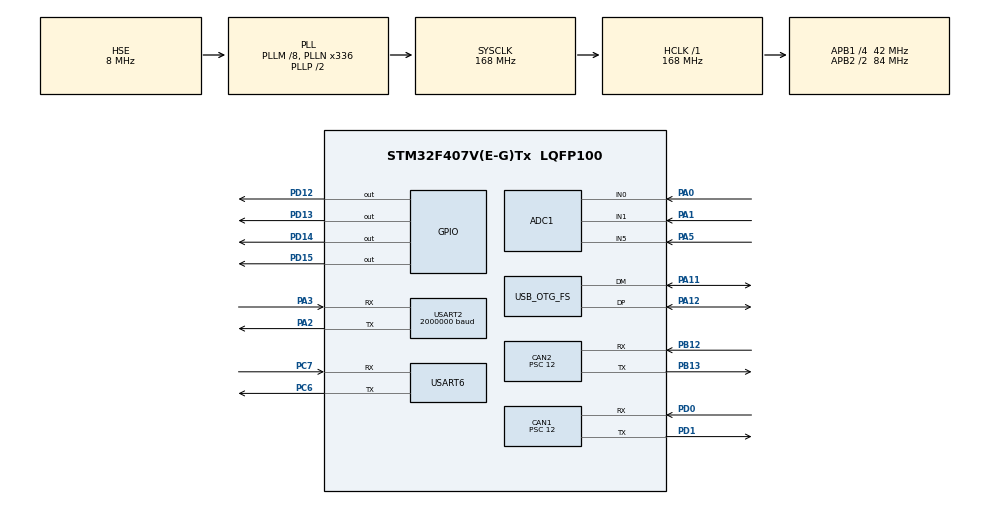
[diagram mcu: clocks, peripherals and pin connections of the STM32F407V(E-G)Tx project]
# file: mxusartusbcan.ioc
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ADC1.Channel-0\#ChannelRegularConversion=ADC_CHANNEL_0
ADC1.Channel-1\#ChannelRegularConversion=ADC_CHANNEL_1
ADC1.Channel-2\#ChannelRegularConversion=ADC_CHANNEL_5
ADC1.Channel-3\#ChannelRegularConversion=ADC_CHANNEL_TEMPSENSOR
ADC1.Channel-4\#ChannelRegularConversion=ADC_CHANNEL_VREFINT
ADC1.ClockPrescaler=ADC_CLOCK_SYNC_PCLK_DIV4
ADC1.ContinuousConvMode=ENABLE
ADC1.DMAContinuousRequests=ENABLE
ADC1.EOCSelection=ADC_EOC_SEQ_CONV
ADC1.NbrOfConversion=5
ADC1.NbrOfConversionFlag=1
ADC1.Rank-0\#ChannelRegularConversion=1
ADC1.Rank-1\#ChannelRegularConversion=2
ADC1.Rank-2\#ChannelRegularConversion=3
ADC1.Rank-3\#ChannelRegularConversion=4
ADC1.Rank-4\#ChannelRegularConversion=5
ADC1.SamplingTime-0\#ChannelRegularConversion=ADC_SAMPLETIME_56CYCLES
ADC1.SamplingTime-1\#ChannelRegularConversion=ADC_SAMPLETIME_56CYCLES
ADC1.SamplingTime-2\#ChannelRegularConversion=ADC_SAMPLETIME_56CYCLES
ADC1.SamplingTime-3\#ChannelRegularConversion=ADC_SAMPLETIME_480CYCLES
ADC1.SamplingTime-4\#ChannelRegularConversion=ADC_SAMPLETIME_480CYCLES
ADC1.ScanConvMode=ENABLE
ADC1.master=1
CAN1.BS1=CAN_BS1_5TQ
CAN1.CalculateTimeQuantum=285.7142857142857
CAN1.Prescaler=12
CAN2.BS1=CAN_BS1_5TQ
CAN2.CalculateTimeQuantum=285.7142857142857
CAN2.Prescaler=12
Dma.ADC1.2.Direction=DMA_PERIPH_TO_MEMORY
Dma.ADC1.2.FIFOMode=DMA_FIFOMODE_DISABLE
Dma.ADC1.2.Instance=DMA2_Stream0
Dma.ADC1.2.MemDataAlignment=DMA_MDATAALIGN_HALFWORD
Dma.ADC1.2.MemInc=DMA_MINC_ENABLE
Dma.ADC1.2.Mode=DMA_CIRCULAR
Dma.ADC1.2.PeriphDataAlignment=DMA_PDATAALIGN_HALFWORD
Dma.ADC1.2.PeriphInc=DMA_PINC_DISABLE
Dma.ADC1.2.Priority=DMA_PRIORITY_LOW
Dma.Request0=USART2_TX
Dma.Request1=USART2_RX
Dma.Request2=ADC1
Dma.Request3=USART6_RX
Dma.Request4=USART6_TX
Dma.USART2_RX.1.Direction=DMA_PERIPH_TO_MEMORY
Dma.USART2_RX.1.FIFOMode=DMA_FIFOMODE_DISABLE
Dma.USART2_RX.1.Instance=DMA1_Stream5
Dma.USART2_RX.1.MemDataAlignment=DMA_MDATAALIGN_BYTE
Dma.USART2_RX.1.MemInc=DMA_MINC_ENABLE
Dma.USART2_RX.1.Mode=DMA_CIRCULAR
Dma.USART2_RX.1.PeriphDataAlignment=DMA_PDATAALIGN_BYTE
Dma.USART2_RX.1.PeriphInc=DMA_PINC_DISABLE
Dma.USART2_RX.1.Priority=DMA_PRIORITY_LOW
Dma.USART2_TX.0.Direction=DMA_MEMORY_TO_PERIPH
Dma.USART2_TX.0.FIFOMode=DMA_FIFOMODE_DISABLE
Dma.USART2_TX.0.Instance=DMA1_Stream6
Dma.USART2_TX.0.MemDataAlignment=DMA_MDATAALIGN_BYTE
Dma.USART2_TX.0.MemInc=DMA_MINC_ENABLE
Dma.USART2_TX.0.Mode=DMA_NORMAL
Dma.USART2_TX.0.PeriphDataAlignment=DMA_PDATAALIGN_BYTE
Dma.USART2_TX.0.PeriphInc=DMA_PINC_DISABLE
Dma.USART2_TX.0.Priority=DMA_PRIORITY_LOW
Dma.USART6_RX.3.Direction=DMA_PERIPH_TO_MEMORY
Dma.USART6_RX.3.FIFOMode=DMA_FIFOMODE_DISABLE
Dma.USART6_RX.3.Instance=DMA2_Stream1
Dma.USART6_RX.3.MemDataAlignment=DMA_MDATAALIGN_BYTE
Dma.USART6_RX.3.MemInc=DMA_MINC_ENABLE
Dma.USART6_RX.3.Mode=DMA_CIRCULAR
Dma.USART6_RX.3.PeriphDataAlignment=DMA_PDATAALIGN_BYTE
Dma.USART6_RX.3.PeriphInc=DMA_PINC_DISABLE
Dma.USART6_RX.3.Priority=DMA_PRIORITY_LOW
Dma.USART6_TX.4.Direction=DMA_MEMORY_TO_PERIPH
Dma.USART6_TX.4.FIFOMode=DMA_FIFOMODE_DISABLE
Dma.USART6_TX.4.Instance=DMA2_Stream6
Dma.USART6_TX.4.MemDataAlignment=DMA_MDATAALIGN_BYTE
Dma.USART6_TX.4.MemInc=DMA_MINC_ENABLE
Dma.USART6_TX.4.Mode=DMA_NORMAL
Dma.USART6_TX.4.PeriphDataAlignment=DMA_PDATAALIGN_BYTE
Dma.USART6_TX.4.PeriphInc=DMA_PINC_DISABLE
Dma.USART6_TX.4.Priority=DMA_PRIORITY_LOW
FREERTOS.BinarySemaphores01=myBinarySem01,Dynamic,NULL
FREERTOS.CountingSemaphores01=myCountingSem01,2,Dynamic,NULL
FREERTOS.INCLUDE_uxTaskGetStackHighWaterMark=1
FREERTOS.INCLUDE_vTaskDelayUntil=1
FREERTOS.INCLUDE_vTaskDelete=0
FREERTOS.MEMORY_ALLOCATION=2
FREERTOS.Mutexes01=myMutex01,Dynamic,NULL
FREERTOS.Tasks01=defaultTask,0,128,StartDefaultTask,Default,NULL,Dynamic,NULL,NULL;myTask02,-3,384,StartTask02,Default,NULL,Dynamic,NULL,NULL;myTask03,-3,300,StartTask03,Default,NULL,Dynamic,NULL,NULL
FREERTOS.Timers01=myTimer01,Callback01,osTimerPeriodic,Default,NULL,Dynamic,NULL
FREERTOS.configCHECK_FOR_STACK_OVERFLOW=2
FREERTOS.configMINIMAL_STACK_SIZE=96
FREERTOS.configQUEUE_REGISTRY_SIZE=16
FREERTOS.configTICK_RATE_HZ=512
FREERTOS.configTOTAL_HEAP_SIZE=19968
FREERTOS.configUSE_COUNTING_SEMAPHORES=1
FREERTOS.configUSE_IDLE_HOOK=1
FREERTOS.configUSE_TIMERS=1
Mcu.Family=STM32F4
Mcu.Name=STM32F407V(E-G)Tx
Mcu.Package=LQFP100
NVIC.CAN1_RX0_IRQn=true\:5\:0\:false\:false\:true\:true\:true
NVIC.CAN1_RX1_IRQn=true\:5\:0\:false\:false\:true\:true\:true
NVIC.CAN1_TX_IRQn=true\:5\:0\:true\:false\:true\:true\:true
NVIC.CAN2_RX0_IRQn=true\:5\:0\:false\:false\:true\:true\:true
NVIC.CAN2_RX1_IRQn=true\:5\:0\:false\:false\:true\:true\:true
NVIC.CAN2_TX_IRQn=true\:5\:0\:true\:false\:true\:true\:true
NVIC.DMA1_Stream5_IRQn=true\:8\:0\:true\:false\:true\:true\:false
NVIC.DMA1_Stream6_IRQn=true\:5\:0\:false\:false\:true\:true\:false
NVIC.DMA2_Stream0_IRQn=true\:9\:0\:true\:false\:true\:true\:false
NVIC.DMA2_Stream1_IRQn=true\:9\:0\:true\:false\:true\:true\:false
NVIC.DMA2_Stream6_IRQn=true\:8\:0\:true\:false\:true\:true\:false
NVIC.OTG_FS_IRQn=true\:5\:0\:false\:false\:true\:true\:false
NVIC.PriorityGroup=NVIC_PRIORITYGROUP_4
NVIC.TIM2_IRQn=true\:10\:0\:true\:false\:true\:true\:true
NVIC.TIM8_TRG_COM_TIM14_IRQn=true\:0\:0\:false\:false\:true\:false\:false
NVIC.TimeBase=TIM8_TRG_COM_TIM14_IRQn
NVIC.TimeBaseIP=TIM14
NVIC.USART2_IRQn=true\:5\:0\:false\:false\:true\:true\:true
NVIC.USART6_IRQn=true\:9\:0\:true\:false\:true\:true\:true
PA0-WKUP.Signal=ADCx_IN0
PA1.Signal=ADCx_IN1
PA11.Mode=Device_Only
PA11.Signal=USB_OTG_FS_DM
PA12.Mode=Device_Only
PA12.Signal=USB_OTG_FS_DP
PA2.Mode=Asynchronous
PA2.Signal=USART2_TX
PA3.Mode=Asynchronous
PA3.Signal=USART2_RX
PA5.Signal=ADCx_IN5
PB12.Mode=Slave
PB12.Signal=CAN2_RX
PB13.Mode=Slave
PB13.Signal=CAN2_TX
PC6.Mode=Asynchronous
PC6.Signal=USART6_TX
PC7.Mode=Asynchronous
PC7.Signal=USART6_RX
PD0.Mode=Master
PD0.Signal=CAN1_RX
PD1.Mode=Master
PD1.Signal=CAN1_TX
PD12.PinState=GPIO_PIN_RESET
PD12.Signal=GPIO_Output
PD13.PinState=GPIO_PIN_RESET
PD13.Signal=GPIO_Output
PD14.PinState=GPIO_PIN_SET
PD14.Signal=GPIO_Output
PD15.PinState=GPIO_PIN_RESET
PD15.Signal=GPIO_Output
PH0-OSC_IN.Mode=HSE-External-Oscillator
PH0-OSC_IN.Signal=RCC_OSC_IN
PH1-OSC_OUT.Mode=HSE-External-Oscillator
PH1-OSC_OUT.Signal=RCC_OSC_OUT
ProjectManager.HeapSize=0x200
ProjectManager.StackSize=0x400
ProjectManager.TargetToolchain=Makefile
RCC.48MHZClocksFreq_Value=48000000
RCC.AHBFreq_Value=168000000
RCC.APB1CLKDivider=RCC_HCLK_DIV4
RCC.APB1Freq_Value=42000000
RCC.APB1TimFreq_Value=84000000
RCC.APB2CLKDivider=RCC_HCLK_DIV2
RCC.APB2Freq_Value=84000000
RCC.APB2TimFreq_Value=168000000
RCC.CortexFreq_Value=168000000
RCC.HCLKFreq_Value=168000000
RCC.HSE_VALUE=8000000
RCC.HSI_VALUE=16000000
RCC.LSE_VALUE=32768
RCC.PLLM=8
RCC.PLLN=336
RCC.PLLQ=7
RCC.SYSCLKFreq_VALUE=168000000
RCC.SYSCLKSource=RCC_SYSCLKSOURCE_PLLCLK
RCC.VCOOutputFreq_Value=336000000
SH.ADCx_IN0.0=ADC1_IN0,IN0
SH.ADCx_IN1.0=ADC1_IN1,IN1
SH.ADCx_IN5.0=ADC1_IN5,IN5
TIM2.Channel-Output\ Compare1\ No\ Output=TIM_CHANNEL_1
TIM2.Channel-Output\ Compare2\ No\ Output=TIM_CHANNEL_2
USART2.BaudRate=2000000
USART2.VirtualMode=VM_ASYNC
USART6.VirtualMode=VM_ASYNC
USB_DEVICE.CLASS_NAME_FS=CDC
USB_DEVICE.VirtualMode-CDC_FS=Cdc
USB_DEVICE.VirtualModeFS=Cdc_FS
USB_OTG_FS.VirtualMode=Device_Only
VP_ADC1_TempSens_Input.Mode=IN-TempSens
VP_ADC1_Vref_Input.Mode=IN-Vrefint
VP_FREERTOS_VS_ENABLE.Mode=Enabled
VP_SYS_VS_tim14.Mode=TIM14
VP_TIM2_VS_ClockSourceINT.Mode=Internal
VP_TIM2_VS_no_output1.Mode=Output Compare1 No Output
VP_TIM2_VS_no_output2.Mode=Output Compare2 No Output
VP_USB_DEVICE_VS_USB_DEVICE_CDC_FS.Mode=CDC_FS
board=custom

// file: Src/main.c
/* USER CODE BEGIN Header */

/**
 * mxusartusbcan.c
 * 02/04/2019
 * Debug & test routines in ../Ourwares directory

05/03/2019 - Experimenting with usb for CAN msgs (/dev/ttyACM0)
 - When ascii line testing in defaultTask the stack had to be increased
 - Hack in Task03 uses buffer setup for usart2 output for ACM0.
   (This should be cleaned up.)
 - Setup with socat--
hub-server --nodelay 0.0.0.0 32124 &
socat TCP4:localhost:32124,nodelay FILE:/dev/ttyACM0,b2000000,raw,echo=0,crtscts=0
cangate 127.0.0.1 32124
 - Reset causes socat to exit.  Restart program.  Program hangs until socat restarts.
*/

/* USER CODE END Header */

#include "main.h"
#include "cmsis_os.h"
#include "usb_device.h"

/* USER CODE BEGIN Includes */
#include <string.h>
#include "SerialTaskSend.h"
#include "stm32f4xx_hal_pcd.h"
#include "usbd_cdc_if.h"
#include "cdc_txbuff.h"
#include "CanTask.h"
#include "can_iface.h"
#include "canfilter_setup.h"
#include "stm32f4xx_hal_can.h"
#include "getserialbuf.h"
#include "SerialTaskSend.h"
#include "stackwatermark.h"
#include "yprintf.h"
#include "gateway_comm.h"
#include "gateway_CANtoPC.h"
#include "DTW_counter.h"
#include "SerialTaskReceive.h"
#include "yscanf.h"
#include "adctask.h"
#include "gateway_PCtoCAN.h"
#include "morse.h"

// Use usb for sending CAN msgs to PC
#define USEUSBFORCANMSGS

/* USER CODE END Includes */

/* USER CODE BEGIN PTD */
void* verr[8];
uint32_t verrx = 0;
__attribute__( ( always_inline ) ) __STATIC_INLINE uint32_t __get_SP(void)
{
  register uint32_t result;

  __ASM volatile ("MOV %0, SP\n" : "=r" (result) );
  return(result);
}

uint32_t timectr = 0;
struct CAN_CTLBLOCK* pctl1;	// Pointer to CAN1 control block
struct CAN_CTLBLOCK* pctl2;	// Pointer to CAN2 control block

uint32_t debugTX1b;
uint32_t debugTX1b_prev;

uint32_t debugTX1c;
uint32_t debugTX1c_prev;

uint32_t debug03;
uint32_t debug03_prev;

extern osThreadId SerialTaskHandle;
extern osThreadId CanTxTaskHandle;
extern osThreadId CanRxTaskHandle;
extern osThreadId SerialTaskReceiveHandle;

uint8_t canflag;
uint8_t canflag1;
uint8_t canflag2;

/* USER CODE END PTD */

ADC_HandleTypeDef hadc1;
DMA_HandleTypeDef hdma_adc1;

CAN_HandleTypeDef hcan1;
CAN_HandleTypeDef hcan2;

TIM_HandleTypeDef htim2;

UART_HandleTypeDef huart2;
UART_HandleTypeDef huart6;
DMA_HandleTypeDef hdma_usart2_tx;
DMA_HandleTypeDef hdma_usart2_rx;
DMA_HandleTypeDef hdma_usart6_rx;
DMA_HandleTypeDef hdma_usart6_tx;

osThreadId defaultTaskHandle;
osThreadId myTask02Handle;
osThreadId myTask03Handle;
osTimerId myTimer01Handle;
osMutexId myMutex01Handle;
osSemaphoreId myBinarySem01Handle;
osSemaphoreId myCountingSem01Handle;
/* USER CODE BEGIN PV */
/* Private variables ---------------------------------------------------------*/
osThreadId CanTask01Handle;
//osSemaphoreId vsnprintfSemaphoreHandle;
/* USER CODE END PV */

void SystemClock_Config(void);
static void MX_GPIO_Init(void);
static void MX_DMA_Init(void);
static void MX_USART2_UART_Init(void);
static void MX_USART6_UART_Init(void);
static void MX_CAN1_Init(void);
static void MX_CAN2_Init(void);
static void MX_ADC1_Init(void);
static void MX_TIM2_Init(void);
void StartDefaultTask(void const * argument);
void StartTask02(void const * argument);
void StartTask03(void const * argument);
void Callback01(void const * argument);

/* USER CODE BEGIN PFP */
/* Private function prototypes -----------------------------------------------*/
void StartCanTask01(void const * argument);
/* USER CODE END PFP */

int main(void)
{
  /* USER CODE BEGIN 1 */
	BaseType_t ret;
//	struct CAN_CTLBLOCK* pcbret;
  /* USER CODE END 1 */

  /* MCU Configuration--------------------------------------------------------*/

  /* Reset of all peripherals, Initializes the Flash interface and the Systick. */
  HAL_Init();

  /* Configure the system clock */
  SystemClock_Config();

  /* USER CODE BEGIN SysInit */
	DTW_counter_init();
  /* USER CODE END SysInit */

  /* Initialize all configured peripherals */
  MX_GPIO_Init();
  MX_DMA_Init();
  MX_USART2_UART_Init();
  MX_USART6_UART_Init();
  MX_CAN1_Init();
  MX_CAN2_Init();
  MX_ADC1_Init();
  MX_TIM2_Init();
  /* USER CODE BEGIN 2 */

/*
DiscoveryF4 LEDs --
 GPIOD, GPIO_PIN_12 GREEN
 GPIOD, GPIO_PIN_13 ORANGE
 GPIOD, GPIO_PIN_14 RED
 GPIOD, GPIO_PIN_15 BLUE
*/
  /* USER CODE END 2 */

  /* Create the mutex(es) */
  /* definition and creation of myMutex01 */
  osMutexDef(myMutex01);
  myMutex01Handle = osMutexCreate(osMutex(myMutex01));

  /* Create the semaphores(s) */
  /* definition and creation of myBinarySem01 */
  osSemaphoreDef(myBinarySem01);
  myBinarySem01Handle = osSemaphoreCreate(osSemaphore(myBinarySem01), 1);

  /* definition and creation of myCountingSem01 */
  osSemaphoreDef(myCountingSem01);
  myCountingSem01Handle = osSemaphoreCreate(osSemaphore(myCountingSem01), 2);

  /* USER CODE BEGIN RTOS_SEMAPHORES */
  /* add semaphores, ... */

//	osSemaphoreDef(sprintfSemaphore);
//   vsnprintfSemaphoreHandle = osSemaphoreCreate(osSemaphore(sprintfSemaphore), 1);

  /* USER CODE END RTOS_SEMAPHORES */

  /* Create the timer(s) */
  /* definition and creation of myTimer01 */
  osTimerDef(myTimer01, Callback01);
  myTimer01Handle = osTimerCreate(osTimer(myTimer01), osTimerPeriodic, NULL);

  /* Create the thread(s) */
  /* definition and creation of defaultTask */
  osThreadDef(defaultTask, StartDefaultTask, osPriorityNormal, 0, 256);
  defaultTaskHandle = osThreadCreate(osThread(defaultTask), NULL);

  /* definition and creation of myTask02 */
  osThreadDef(myTask02, StartTask02, osPriorityIdle, 0, 512);
  myTask02Handle = osThreadCreate(osThread(myTask02), NULL);

  /* definition and creation of myTask03 */
  osThreadDef(myTask03, StartTask03, osPriorityIdle, 0, 512);
  myTask03Handle = osThreadCreate(osThread(myTask03), NULL);

  /* USER CODE BEGIN RTOS_THREADS */
  /* add threads, ... */
/* =================================================== */
	/* Create serial task (priority) */
	// Task handle "osThreadId SerialTaskHandle" is global
	xSerialTaskSendCreate(0);	// Create task and set Task priority

	/* Add bcb circular buffer to SerialTaskSend for usart6 */
	#define NUMCIRBCB6  16 // Size of circular buffer of BCB for usart6
	ret = xSerialTaskSendAdd(&huart6, NUMCIRBCB6, 0); // char-by-char
	if (ret < 0) morse_trap(1); // Maybe add panic led flashing here?

	/* Add bcb circular buffer to SerialTaskSend for usart2 */
	#define NUMCIRBCB2  12 // Size of circular buffer of BCB for usart2
	ret = xSerialTaskSendAdd(&huart2, NUMCIRBCB2, 1); // dma
	if (ret < 0) morse_trap(2); // Maybe add panic led flashing here?

	/* Setup semaphore for yprint and sprintf et al. */
	yprintf_init();

	/* Create serial receiving task of uart6 (char-by-char) */
	xSerialTaskReceiveCreate(0);

	/* USB-CDC buffering */
	#define NUMCDCBUFF 3	// Number of CDC task local buffers
	#define CDCBUFFSIZE 64*16	// Best buff size is multiples of usb packet size
	struct CDCBUFFPTR* pret;
	pret = cdc_txbuff_init(NUMCDCBUFF, CDCBUFFSIZE); // Setup local buffers
	if (pret == NULL) morse_trap(3);

	/* USB-CDC queue and task creation */
	osMessageQId Qidret = xCdcTxTaskSendCreate(3);
	if (Qidret < 0) morse_trap(4); // Maybe add panic led flashing here

	/* Start software timer used for usb-cdc initial testing, and Callback01 */
	osTimerStart (myTimer01Handle, 500);

  /* definition and creation of CanTask01 */
  osThreadDef(CanTask01, StartCanTask01, osPriorityNormal, 0, 256);
  CanTask01Handle = osThreadCreate(osThread(CanTask01), NULL);
//	vTaskPrioritySet( CanTask01Handle, 3);

  /* definition and creation of CanTxTask - CAN driver TX interface. */
  Qidret = xCanTxTaskCreate(0, 32); // CanTask priority, Number of msgs in queue
	if (Qidret < 0) morse_trap(5); // Maybe add panic led flashing here?

  /* definition and creation of CanRxTask - CAN driver RX interface. */
  Qidret = xCanRxTaskCreate(1, 32); // CanTask priority, Number of msgs in queue
	if (Qidret < 0) morse_trap(6); // Maybe add panic led flashing here?

	/* Setup TX linked list for CAN1  */
	pctl1 = can_iface_init(&hcan1, 64);
	if (pctl1 == NULL) morse_trap(7); // Maybe add panic led flashing here?

	/* Setup TX linked list for CAN2  */
	pctl2 = can_iface_init(&hcan2, 8);
	if (pctl2 == NULL) morse_trap(8); // Maybe add panic led flashing here?

	/* Setup CAN hardware filters to default to accept all ids. */
	HAL_StatusTypeDef Cret;
	Cret = canfilter_setup_first(1, &hcan1, 15);
	if (Cret == HAL_ERROR) morse_trap(9);

//	Cret = canfilter_setup_first(2, &hcan2, 15);
//	if (Cret == HAL_ERROR) morse_trap(10);

	/* Remove "accept all" and add specific id & mask, or id here. */
	// See canfilter_setup.h

	/* Select interrupts for CAN1 */
	HAL_CAN_ActivateNotification(&hcan1, \
		CAN_IT_TX_MAILBOX_EMPTY     |  \
		CAN_IT_RX_FIFO0_MSG_PENDING |  \
		CAN_IT_RX_FIFO1_MSG_PENDING    );

	/* Start CAN1 */
	HAL_CAN_Start(&hcan1);
/* =================================================== */
  /* USER CODE END RTOS_THREADS */

  /* Start scheduler */
  osKernelStart();

  /* We should never get here as control is now taken by the scheduler */

  /* Infinite loop */
  while (1)
  {

  }
}

void SystemClock_Config(void)
{
  RCC_OscInitTypeDef RCC_OscInitStruct = {0};
  RCC_ClkInitTypeDef RCC_ClkInitStruct = {0};

  /**Configure the main internal regulator output voltage
  */
  __HAL_RCC_PWR_CLK_ENABLE();
  __HAL_PWR_VOLTAGESCALING_CONFIG(PWR_REGULATOR_VOLTAGE_SCALE1);
  /**Initializes the CPU, AHB and APB busses clocks
  */
  RCC_OscInitStruct.OscillatorType = RCC_OSCILLATORTYPE_HSE;
  RCC_OscInitStruct.HSEState = RCC_HSE_ON;
  RCC_OscInitStruct.PLL.PLLState = RCC_PLL_ON;
  RCC_OscInitStruct.PLL.PLLSource = RCC_PLLSOURCE_HSE;
  RCC_OscInitStruct.PLL.PLLM = 8;
  RCC_OscInitStruct.PLL.PLLN = 336;
  RCC_OscInitStruct.PLL.PLLP = RCC_PLLP_DIV2;
  RCC_OscInitStruct.PLL.PLLQ = 7;
  if (HAL_RCC_OscConfig(&RCC_OscInitStruct) != HAL_OK)
  {
    Error_Handler();
  }
  /**Initializes the CPU, AHB and APB busses clocks
  */
  RCC_ClkInitStruct.ClockType = RCC_CLOCKTYPE_HCLK|RCC_CLOCKTYPE_SYSCLK
                              |RCC_CLOCKTYPE_PCLK1|RCC_CLOCKTYPE_PCLK2;
  RCC_ClkInitStruct.SYSCLKSource = RCC_SYSCLKSOURCE_PLLCLK;
  RCC_ClkInitStruct.AHBCLKDivider = RCC_SYSCLK_DIV1;
  RCC_ClkInitStruct.APB1CLKDivider = RCC_HCLK_DIV4;
  RCC_ClkInitStruct.APB2CLKDivider = RCC_HCLK_DIV2;

  if (HAL_RCC_ClockConfig(&RCC_ClkInitStruct, FLASH_LATENCY_5) != HAL_OK)
  {
    Error_Handler();
  }
}

static void MX_ADC1_Init(void)
{

  ADC_ChannelConfTypeDef sConfig = {0};

  /**Configure the global features of the ADC (Clock, Resolution, Data Alignment and number of conversion)
  */
  hadc1.Instance = ADC1;
  hadc1.Init.ClockPrescaler = ADC_CLOCK_SYNC_PCLK_DIV4;
  hadc1.Init.Resolution = ADC_RESOLUTION_12B;
  hadc1.Init.ScanConvMode = ENABLE;
  hadc1.Init.ContinuousConvMode = ENABLE;
  hadc1.Init.DiscontinuousConvMode = DISABLE;
  hadc1.Init.ExternalTrigConvEdge = ADC_EXTERNALTRIGCONVEDGE_NONE;
  hadc1.Init.ExternalTrigConv = ADC_SOFTWARE_START;
  hadc1.Init.DataAlign = ADC_DATAALIGN_RIGHT;
  hadc1.Init.NbrOfConversion = 5;
  hadc1.Init.DMAContinuousRequests = ENABLE;
  hadc1.Init.EOCSelection = ADC_EOC_SEQ_CONV;
  if (HAL_ADC_Init(&hadc1) != HAL_OK)
  {
    Error_Handler();
  }
  /**Configure for the selected ADC regular channel its corresponding rank in the sequencer and its sample time.
  */
  sConfig.Channel = ADC_CHANNEL_0;
  sConfig.Rank = 1;
  sConfig.SamplingTime = ADC_SAMPLETIME_56CYCLES;
  if (HAL_ADC_ConfigChannel(&hadc1, &sConfig) != HAL_OK)
  {
    Error_Handler();
  }
  /**Configure for the selected ADC regular channel its corresponding rank in the sequencer and its sample time.
  */
  sConfig.Channel = ADC_CHANNEL_1;
  sConfig.Rank = 2;
  if (HAL_ADC_ConfigChannel(&hadc1, &sConfig) != HAL_OK)
  {
    Error_Handler();
  }
  /**Configure for the selected ADC regular channel its corresponding rank in the sequencer and its sample time.
  */
  sConfig.Channel = ADC_CHANNEL_5;
  sConfig.Rank = 3;
  if (HAL_ADC_ConfigChannel(&hadc1, &sConfig) != HAL_OK)
  {
    Error_Handler();
  }
  /**Configure for the selected ADC regular channel its corresponding rank in the sequencer and its sample time.
  */
  sConfig.Channel = ADC_CHANNEL_TEMPSENSOR;
  sConfig.Rank = 4;
  sConfig.SamplingTime = ADC_SAMPLETIME_480CYCLES;
  if (HAL_ADC_ConfigChannel(&hadc1, &sConfig) != HAL_OK)
  {
    Error_Handler();
  }
  /**Configure for the selected ADC regular channel its corresponding rank in the sequencer and its sample time.
  */
  sConfig.Channel = ADC_CHANNEL_VREFINT;
  sConfig.Rank = 5;
  if (HAL_ADC_ConfigChannel(&hadc1, &sConfig) != HAL_OK)
  {
    Error_Handler();
  }

}

static void MX_CAN1_Init(void)
{

  hcan1.Instance = CAN1;
  hcan1.Init.Prescaler = 12;
  hcan1.Init.Mode = CAN_MODE_NORMAL;
  hcan1.Init.SyncJumpWidth = CAN_SJW_1TQ;
  hcan1.Init.TimeSeg1 = CAN_BS1_5TQ;
  hcan1.Init.TimeSeg2 = CAN_BS2_1TQ;
  hcan1.Init.TimeTriggeredMode = DISABLE;
  hcan1.Init.AutoBusOff = DISABLE;
  hcan1.Init.AutoWakeUp = DISABLE;
  hcan1.Init.AutoRetransmission = DISABLE;
  hcan1.Init.ReceiveFifoLocked = DISABLE;
  hcan1.Init.TransmitFifoPriority = DISABLE;
  if (HAL_CAN_Init(&hcan1) != HAL_OK)
  {
    Error_Handler();
  }

}

static void MX_CAN2_Init(void)
{

  hcan2.Instance = CAN2;
  hcan2.Init.Prescaler = 12;
  hcan2.Init.Mode = CAN_MODE_NORMAL;
  hcan2.Init.SyncJumpWidth = CAN_SJW_1TQ;
  hcan2.Init.TimeSeg1 = CAN_BS1_5TQ;
  hcan2.Init.TimeSeg2 = CAN_BS2_1TQ;
  hcan2.Init.TimeTriggeredMode = DISABLE;
  hcan2.Init.AutoBusOff = DISABLE;
  hcan2.Init.AutoWakeUp = DISABLE;
  hcan2.Init.AutoRetransmission = DISABLE;
  hcan2.Init.ReceiveFifoLocked = DISABLE;
  hcan2.Init.TransmitFifoPriority = DISABLE;
  if (HAL_CAN_Init(&hcan2) != HAL_OK)
  {
    Error_Handler();
  }

}

static void MX_TIM2_Init(void)
{

  TIM_ClockConfigTypeDef sClockSourceConfig = {0};
  TIM_MasterConfigTypeDef sMasterConfig = {0};
  TIM_OC_InitTypeDef sConfigOC = {0};

  htim2.Instance = TIM2;
  htim2.Init.Prescaler = 0;
  htim2.Init.CounterMode = TIM_COUNTERMODE_UP;
  htim2.Init.Period = 0;
  htim2.Init.ClockDivision = TIM_CLOCKDIVISION_DIV1;
  if (HAL_TIM_Base_Init(&htim2) != HAL_OK)
  {
    Error_Handler();
  }
  sClockSourceConfig.ClockSource = TIM_CLOCKSOURCE_INTERNAL;
  if (HAL_TIM_ConfigClockSource(&htim2, &sClockSourceConfig) != HAL_OK)
  {
    Error_Handler();
  }
  if (HAL_TIM_OC_Init(&htim2) != HAL_OK)
  {
    Error_Handler();
  }
  sMasterConfig.MasterOutputTrigger = TIM_TRGO_RESET;
  sMasterConfig.MasterSlaveMode = TIM_MASTERSLAVEMODE_DISABLE;
  if (HAL_TIMEx_MasterConfigSynchronization(&htim2, &sMasterConfig) != HAL_OK)
  {
    Error_Handler();
  }
  sConfigOC.OCMode = TIM_OCMODE_TIMING;
  sConfigOC.Pulse = 0;
  sConfigOC.OCPolarity = TIM_OCPOLARITY_HIGH;
  sConfigOC.OCFastMode = TIM_OCFAST_DISABLE;
  if (HAL_TIM_OC_ConfigChannel(&htim2, &sConfigOC, TIM_CHANNEL_1) != HAL_OK)
  {
    Error_Handler();
  }
  if (HAL_TIM_OC_ConfigChannel(&htim2, &sConfigOC, TIM_CHANNEL_2) != HAL_OK)
  {
    Error_Handler();
  }

}

static void MX_USART2_UART_Init(void)
{

  huart2.Instance = USART2;
  huart2.Init.BaudRate = 2000000;
  huart2.Init.WordLength = UART_WORDLENGTH_8B;
  huart2.Init.StopBits = UART_STOPBITS_1;
  huart2.Init.Parity = UART_PARITY_NONE;
  huart2.Init.Mode = UART_MODE_TX_RX;
  huart2.Init.HwFlowCtl = UART_HWCONTROL_NONE;
  huart2.Init.OverSampling = UART_OVERSAMPLING_16;
  if (HAL_UART_Init(&huart2) != HAL_OK)
  {
    Error_Handler();
  }

}

static void MX_USART6_UART_Init(void)
{

  huart6.Instance = USART6;
  huart6.Init.BaudRate = 115200;
  huart6.Init.WordLength = UART_WORDLENGTH_8B;
  huart6.Init.StopBits = UART_STOPBITS_1;
  huart6.Init.Parity = UART_PARITY_NONE;
  huart6.Init.Mode = UART_MODE_TX_RX;
  huart6.Init.HwFlowCtl = UART_HWCONTROL_NONE;
  huart6.Init.OverSampling = UART_OVERSAMPLING_16;
  if (HAL_UART_Init(&huart6) != HAL_OK)
  {
    Error_Handler();
  }

}

static void MX_DMA_Init(void)
{
  /* DMA controller clock enable */
  __HAL_RCC_DMA1_CLK_ENABLE();
  __HAL_RCC_DMA2_CLK_ENABLE();

  /* DMA interrupt init */
  /* DMA1_Stream5_IRQn interrupt configuration */
  HAL_NVIC_SetPriority(DMA1_Stream5_IRQn, 8, 0);
  HAL_NVIC_EnableIRQ(DMA1_Stream5_IRQn);
  /* DMA1_Stream6_IRQn interrupt configuration */
  HAL_NVIC_SetPriority(DMA1_Stream6_IRQn, 5, 0);
  HAL_NVIC_EnableIRQ(DMA1_Stream6_IRQn);
  /* DMA2_Stream0_IRQn interrupt configuration */
  HAL_NVIC_SetPriority(DMA2_Stream0_IRQn, 9, 0);
  HAL_NVIC_EnableIRQ(DMA2_Stream0_IRQn);
  /* DMA2_Stream1_IRQn interrupt configuration */
  HAL_NVIC_SetPriority(DMA2_Stream1_IRQn, 9, 0);
  HAL_NVIC_EnableIRQ(DMA2_Stream1_IRQn);
  /* DMA2_Stream6_IRQn interrupt configuration */
  HAL_NVIC_SetPriority(DMA2_Stream6_IRQn, 8, 0);
  HAL_NVIC_EnableIRQ(DMA2_Stream6_IRQn);

}

static void MX_GPIO_Init(void)
{
  GPIO_InitTypeDef GPIO_InitStruct = {0};

  /* GPIO Ports Clock Enable */
  __HAL_RCC_GPIOH_CLK_ENABLE();
  __HAL_RCC_GPIOA_CLK_ENABLE();
  __HAL_RCC_GPIOB_CLK_ENABLE();
  __HAL_RCC_GPIOD_CLK_ENABLE();
  __HAL_RCC_GPIOC_CLK_ENABLE();

  /*Configure GPIO pin Output Level */
  HAL_GPIO_WritePin(GPIOD, GPIO_PIN_12|GPIO_PIN_13|GPIO_PIN_15, GPIO_PIN_RESET);

  /*Configure GPIO pin Output Level */
  HAL_GPIO_WritePin(GPIOD, GPIO_PIN_14, GPIO_PIN_SET);

  /*Configure GPIO pins : PD12 PD13 PD14 PD15 */
  GPIO_InitStruct.Pin = GPIO_PIN_12|GPIO_PIN_13|GPIO_PIN_14|GPIO_PIN_15;
  GPIO_InitStruct.Mode = GPIO_MODE_OUTPUT_PP;
  GPIO_InitStruct.Pull = GPIO_NOPULL;
  GPIO_InitStruct.Speed = GPIO_SPEED_FREQ_LOW;
  HAL_GPIO_Init(GPIOD, &GPIO_InitStruct);

}

/* USER CODE BEGIN 4 */
/*********************** CanTask01 ************************************************
** Set to Idle (-3) FreeRTOS priority
** List stack usage of tasks
** Test yprintf and sending with multiple serial buffers to one uart
** Test floating point linking and working
***********************************************************************************/
void StartCanTask01(void const * argument)
{
	struct SERIALSENDTASKBCB* pbuf1 = getserialbuf(&huart6,96);
	if (pbuf1 == NULL) morse_trap(11);

	struct SERIALSENDTASKBCB* pbuf2 = getserialbuf(&huart6,96);
	if (pbuf2 == NULL) morse_trap(12);

	int ctr = 0; // Running count

//	double pi = 3.1415926535897932; // Test that floating pt is working

	uint32_t heapsize;

#define LOOPDELAYTICKS (64*8*5)	// 5 sec Loop delay (512 Hz tick rate)
	for ( ;; )
	{
		osDelay(LOOPDELAYTICKS);
		ctr += 1;

//		HAL_GPIO_TogglePin(GPIOD,GPIO_PIN_15); // BLUE LED

		/* Old way of outputting a line. */
#ifdef OLDWAYPRINTF
		vSerialTaskSendWait(pbuf1, &noteval); // Wait for buffer to be released
		xSemaphoreTake( vsnprintfSemaphoreHandle, portMAX_DELAY ); // Protect snprintf
		pbuf1->size = snprintf((char*)pbuf1->pbuf,BUF1Z,"\n\rCT %3d ------- %f",ctr, pi*ctr);
		if (pbuf1->size > BUF1Z) pbuf1->size = BUF1Z; // snprintf buffer max limitation
		xSemaphoreGive( vsnprintfSemaphoreHandle );	// Release snprintf
		vSerialTaskSendQueueBuf(&pbuf1, &noteval); // Place control block on queue for sending
#endif

#ifdef NEWWAYPRINTF
		/* New way of setting up lines using 'yprintf'.  NOTE different struct used for buffer. */
		yprintf(&pbuf2,"\n\rctr %3d  pi/ctr: %f",ctr, pi*ctr); // Does everything.

		/* CAN msgs are counted in another task. */
		yprintf(&pbuf2,"\n\r\t\tCan Message Ct %i %f per sec",\
		(unsigned int)(debug03-debug03_prev),\
		(double)(debug03-debug03_prev)*1000.0/LOOPDELAYTICKS);
		debug03_prev = debug03;
#endif

		/* Display the amount of unused stack space for tasks. */
#define USESTACKMARK
#ifdef USESTACKMARK
		stackwatermark_show(defaultTaskHandle,&pbuf2,"defaultTask--");
		stackwatermark_show(CanTask01Handle  ,&pbuf2,"Task01-------");
		stackwatermark_show( myTask02Handle  ,&pbuf2,"Task02-------");
		stackwatermark_show( myTask03Handle  ,&pbuf2,"Task03-------");
		stackwatermark_show(SerialTaskHandle ,&pbuf2,"SerialTask---");
		stackwatermark_show(CanTxTaskHandle  ,&pbuf2,"CanTxTask----");
		stackwatermark_show(CanRxTaskHandle  ,&pbuf2,"CanRxTask----");
		stackwatermark_show(SerialTaskReceiveHandle  ,&pbuf2,"SerialRcvTask");
#endif

	/* Heap usage */
	heapsize = xPortGetFreeHeapSize();
	yprintf(&pbuf2,"\n\rGetFreeHeapSize: %i used: %i",heapsize,(configTOTAL_HEAP_SIZE-heapsize));

	/* Testing fp working */
//	yprintf (&pbuf2,"\n\r\t\t\t\t\typrintf %f test", (M_PIf/ctr)); // Just a test of uart2

	}
}
/* USER CODE END 4 */

/* USER CODE BEGIN Header_StartDefaultTask */
/**
  * @brief  Function implementing the defaultTask thread.
  * @param  argument: Not used
  * @retval None
*********************** DefaultTask *******************************************
** Test usb-cdc (ttyACM0) sending
** Test sending fixed CAN msg
*******************************************************************************
  */
/* USER CODE END Header_StartDefaultTask */
void StartDefaultTask(void const * argument)
{
  /* init code for USB_DEVICE */
  MX_USB_DEVICE_Init();

  /* USER CODE BEGIN 5 */

	/* Wait for PC to recognize ACM0 (USB-CDC) */
	osDelay(1000);

/* Testing usb-cdc with minicom ttyACM0 */
//#define USEACMOSERIALSENDING
#ifdef USEACMOSERIALSENDING
char c[64];
struct CDCTXTASKBCB cdc1;
cdc1.pbuf = (uint8_t*)&c[0];

xSemaphoreTake( vsnprintfSemaphoreHandle, portMAX_DELAY );
	cdc1.size = snprintf(c,64,"\n\n\rmxusartusbcan: initial line with usb-cdc ACM0 %i\n\n\r",(unsigned int)timectr++);
	if (cdc1.size > 64) cdc1.size = 64;
xSemaphoreGive( vsnprintfSemaphoreHandle );

xQueueSendToBack(CdcTxTaskSendQHandle,&cdc1,5000);
#endif

	/* Assign notification bits for this task */
	#define TSKDEFBUFBIT02 0x4	// Assign notification bit position to ADC ???

	/* Malloc a serial buffer control block and buffer. Initial noteval. */
//2	struct SERIALSENDTASKBCB* pbuf1 = getserialbuf(&huart2,64);
//6	struct SERIALSENDTASKBCB* pbuf2 = getserialbuf(&huart6,32);

	int ctr = 0;

	/* Test CAN msg */
	struct CANTXQMSG testtx;
	testtx.pctl = pctl1;
	testtx.can.id = 0x12200000;
	testtx.can.dlc = 8;
	testtx.can.cd.uc[0] = 0x01;
	int i;
	for (i = 1; i< 8; i++)
	{
		testtx.can.cd.uc[i] = testtx.can.cd.uc[i-1] + 0x22;
	}

	testtx.maxretryct = 8;
	testtx.bits = 0;

  /* Infinite loop */
  for(;;)
  {
    osDelay(8*4);	// Four loops per second

HAL_GPIO_TogglePin(GPIOD, GPIO_PIN_12); // GREEN

	/* USB-CDC */
#ifdef USEACMOSERIALSENDING
xSemaphoreTake( vsnprintfSemaphoreHandle, portMAX_DELAY );
	cdc1.size = sprintf(c,"USB-CDC output on /dev/ttyACM0. %i\n\r",ctr);
xSemaphoreGive( vsnprintfSemaphoreHandle );
	xQueueSendToBack(CdcTxTaskSendQHandle,&cdc1,1500);
//	mCdcTxQueueBuf(&cdc1);
//	mCdcTxQueueBuf(&cdc1);
//	mCdcTxQueueBuf(&cdc1);
//	mCdcTxQueueBuf(&cdc1);
//	mCdcTxQueueBuf(&cdc1);
#endif

	/* Some usart testing with usart2. */
//2	yprintf(&pbuf1,"\n\r\t\tDefaultTask: %3i",ctr);

	/* Some usart testing with usart6. */
//6	yprintf(&pbuf2,"\n\r\t\tDefaultTask: %3i",ctr);

	ctr += 1;

/* ==== CAN MSG sending test ===== */
	/* Place test CAN msg to send on queue in a burst. */
	/* Note: an odd makes the LED flash since it toggles on each msg. */
	for (i = 0; i < 7; i++)
		xQueueSendToBack(CanTxQHandle,&testtx,portMAX_DELAY);
  }

  /* USER CODE END 5 */
}

/* USER CODE BEGIN Header_StartTask02 */
/**
* @brief Function implementing the myTask02 thread.
* @param argument: Not used
* @retval None
*********************** Task02 ************************************************
** Test sscanf: incoming ascii on usart6
 * Test ADC: three inputs plus internal temperature and voltage reference
 * Multiple bits on TastNotifyWait plus yprintf
*******************************************************************************
*/
/* USER CODE END Header_StartTask02 */
void StartTask02(void const * argument)
{
  /* USER CODE BEGIN StartTask02 */
	char* pline;	// Pointer to line buffer

	#define TSK02BIT00	(1 << 0)  // Task notification bit for serial input (SerialTaskReceive.c)
	#define TSK02BIT02	(1 << 2)  // Task notification bit for ADC dma 1st 1/2 (adctask.c)
	#define TSK02BIT03	(1 << 3)  // Task notification bit for ADC dma end (adctask.c)
	#define TSK02BIT04	(1 << 4)  // Task notification bit for huart2 incoming ascii CAN

/* Notefication on multiple bits--

The xTaskNotifyWait resets the bits in internal notification word for this task
   when the xTaskNotifyWait is entered.

When there is a notification, the process calling the NotifyGive specifies the
   bit that is ORed into the notification word, and the notification word internal
   to the FreeRTOS is copied into the 'noteval'.

xTaskNotifyWait exits.  'noteused' is set to zero and the subsequent processing
   checks the bits in 'noteval' as they are handled.

Bits in 'noteused' are fed back into xTaskNotifyWait, which resets the bits that
   were handled.  If other bits in 'noteval' were turned on by a notification during
   the processing of a notification, 'noteused' will not turn them off, and the
   'Wait will return immediately.
*/

	/* A notification copies the internal notification word to this. */
	uint32_t noteval = 0;    // Receives notification word upon an API notify

	/* notification bits processed after a 'Wait. */
	uint32_t noteused = 0;

	/* Setup serial receive for uarts */
	struct SERIALRCVBCB* pbcb;		// usart6 (PC minicom->yscanf test)
	struct SERIALRCVBCB* prbcb2;	// usart2 (PC->CAN msg test)

	/* Setup serial input buffering and line-ready notification */
   //   (ptr uart handle, dma flag, notiification bit,
   //   ptr notification word, number line buffers, size of lines,
   //   dma buffer size);

	/* PC-to-CAN ascii/hex incoming "lines" directly converts to CAN msgs. */
	prbcb2 = xSerialTaskRxAdduart(&huart2,1,TSK02BIT04,\
		&noteval,12,32,128,1); // buff 12 CAN, of 24 bytes, 192 total dma, /CAN mode
	if (prbcb2 == NULL) morse_trap(13);

	/* Incoming ascii lines. */
	pbcb  = xSerialTaskRxAdduart(&huart6,1,TSK02BIT00,\
		&noteval,3,96,48,0);	// 3 line buffers of 96 chars, 48 total dma, line mode
	if (pbcb == NULL) morse_trap(14);

	struct CANRCVBUFPLUS* pcanp;  // Basic CAN msg Plus error and seq number

	/* Setup serial output for uart. */
	struct SERIALSENDTASKBCB* pbuf21 = getserialbuf(&huart6,96);
	struct SERIALSENDTASKBCB* pbuf24 = getserialbuf(&huart6,24);
	struct SERIALSENDTASKBCB* pbuf25 = getserialbuf(&huart6,64);
	struct SERIALSENDTASKBCB* pbuf26 = getserialbuf(&huart6,64);
	struct SERIALSENDTASKBCB* pbuf27 = getserialbuf(&huart6,64);
	struct SERIALSENDTASKBCB* pbuf28 = getserialbuf(&huart6,128);

osDelay(10); // Some debugging & testing

/* sscanf testing */
double d1 = 0;
double d2 = 0;
int64_t nn = 0;

yscanf_init(); // Get semaphore for sscanf

// 3.1415926535897932 3.1415926535897932 10

/*
uint16_t* adctask_init(ADC_HandleTypeDef* phadc,\
	uint32_t  notebit1,\
	uint32_t  notebit2,\
	uint32_t* pnoteval,\
	uint16_t  dmact)
*/
	/* Get buffers, "our" control block, and start ADC/DMA running. */
	struct ADCDMATSKBLK* pblk = adctask_init(&hadc1,TSK02BIT02,TSK02BIT03,&noteval,16);
	if (pblk == NULL) {HAL_GPIO_WritePin(GPIOD, GPIO_PIN_15,GPIO_PIN_SET); morse_trap(15);}

/* Counts of ADC/DMA interrupts */
//extern uint32_t Ddma1;
extern uint32_t Ddma2;
//uint32_t Ddma1_prev = 0;
uint32_t Ddma2_prev = 0;

uint32_t canflag1_prev = 0;
uint32_t canflag2_prev = 0;

uint32_t dbgT0;
uint32_t dbgT1;

int i;
int n = pblk->phadc->Init.NbrOfConversion;
uint64_t adc[5] = {0};
float fadc[5];
uint64_t* psum;
uint16_t sumct = 0;
#define AD 13	// Scale: 16 in seq, plus sumct

	/* PC-to-CAN msg */
	struct CANTXQMSG testtx;
	testtx.pctl = pctl1;

	for ( ;; )
	{
		/* Wait for line completion */
		xTaskNotifyWait(noteused, 0, &noteval, portMAX_DELAY);
		noteused = 0;	// Accumulate bits in 'noteval' processed.

		psum = adctask_sum(pblk);	// Sum 1/2 dma buffer
		if (psum != NULL)
		{
			/* We handled one, or both, noteval bits */
			noteused |= (pblk->notebit1 | pblk->notebit2);

			/* Sum so more to reduce output rate, and further filter. */
				for (i = 0; i < n; i++)
				{
					adc[i] += *(psum+i);
					*(psum+i) = 0;
				}
				sumct += 1;
				if (sumct >= (1<<9))
				{
					for (i = 0; i < n; i++)
					{
						fadc[i] = adc[i];
						fadc[i] /= (1<<AD);
					}
					yprintf(&pbuf26,"\n\rS: %6.1f %6.1f %6.1f %6.1f %6.1f",fadc[0],fadc[1],fadc[2],fadc[3],fadc[4]);
//					yprintf(&pbuf26,"\n\rS: %4lli %4lli %4lli %4lli %4lli",adc[0]>>AD,adc[1]>>AD,adc[2]>>AD,adc[3]>>AD,adc[4]>>AD);
					adc[0] = 0;adc[1] = 0; adc[2] = 0; adc[3] = 0; adc[4] = 0;
					sumct = 0;
				}
		}

		/* Display number of 1st 1/2 DMA interrupts per second. */
		if ((noteval & TSK02BIT02) != 0)
		{ // Here, 1st half of DMA ready

			if (canflag1 != canflag1_prev)
			{ // DMA interrupts during one second
				canflag1_prev = canflag1;
				yprintf(&pbuf25,"\n\rD1 %6i %6i %6i %6i %6i",*(pblk->pdma1+0),*(pblk->pdma1+1),*(pblk->pdma1+2),*(pblk->pdma1+3),*(pblk->pdma1+4) );
//				Ddma1_prev = Ddma1;
			}
		}

		/* Display number of 2nd 1/2 DMA interrupts per second. */
		if ((noteval & TSK02BIT03) != 0)
		{ // Here, 2nd half of DMA ready
			if (canflag2 != canflag2_prev)
			{ // DMA interrupts during one second
				canflag2_prev = canflag2;
				yprintf(&pbuf24,"\n\rDMA2 %d",Ddma2-Ddma2_prev);
				Ddma2_prev = Ddma2;
			}
		}

		/* Handle an incoming uart line */
		if ((noteval & TSK02BIT00) != 0)
		{ // Here, one or more input lines ready
			noteused |= TSK02BIT00; // We handled the bit
			do
			{
				/* Get pointer of next completed line. */
				pline = xSerialTaskReceiveGetline(pbcb);
				if (pline != NULL)
				{ // Here, a line is ready.
dbgT0=DTWTIME;
					/* 4505 cycles: 26.8 us */
				  yprintf(&pbuf21, "\n\rHELLO from task02: 0X%08X :%d |%s",pline,strlen(pline), pline);
dbgT1=DTWTIME - dbgT0;

/* NOTE: It isnecessary to remove '-specs=nano.specs' from linker flags in 'Makefile'
   to load library functions for scanf. */

				/* Approx 4200 to 14000 cycles: 25 -  83 us */
				yscanf(pline,"%lf %lf %lli", &d1,&d2,&nn);

				/* Behold what has been wrought!  1101 cycles: 6.6 us */
				yprintf(&pbuf27,"\n\rhell yes: %21.16lf %lf %21.16lf %lli %i",d1,d2,d1*d2*nn,nn,(unsigned int)(dbgT1));

				}
			} while (pline != NULL);
		}

		/* Handle incoming usart2 carrying ascii/hex CAN msgs */
		if ((noteval & TSK02BIT04) != 0)
		{ // Here, one or more CAN msgs have been received
			noteused |= TSK02BIT04; // We handled the bit

			/* Get incoming CAN msgs from PC and queue for output to CAN bus. */
			do
			{
				pcanp = gateway_PCtoCAN_getCAN(prbcb2);
				if (pcanp != NULL)
				{
					/* Check for errors */
					if (pcanp->error == 0)
					{
						/* Place CAN msg on queue for sending to CAN bus */
						testtx.can = pcanp->can;
						xQueueSendToBack(CanTxQHandle,&testtx,portMAX_DELAY);
					}
					else
					{ // Here, one or more errors. List for the hapless Op to ponder
						yprintf(&pbuf28,"\n\r@@@@@ PC CAN ERROR: %i 0X%04X, 0X%08X 0X%02X 0X%08X %i 0X%02X 0X%02X %s",pcanp->seq, pcanp->error,\
							pcanp->can.id,pcanp->can.dlc,pcanp->can.cd.ui[0]);

						/* For test purposes: Place CAN msg on queue for sending to CAN bus */
						testtx.can = pcanp->can;
						xQueueSendToBack(CanTxQHandle,&testtx,portMAX_DELAY);
					}
				}
			} while ( pcanp != NULL);
		}
	}
  /* USER CODE END StartTask02 */
}

/* USER CODE BEGIN Header_StartTask03 */
/**
* @brief Function implementing the myTask03 thread.
* @param argument: Not used
* @retval None
********************* Task03 **************************************************
** Receive CAN msgs placed on queue by CAN callback in 'iface.c'
*******************************************************************************
*/
/* USER CODE END Header_StartTask03 */
void StartTask03(void const * argument)
{
  /* USER CODE BEGIN StartTask03 */

	/* Get buffer with buffer control block and semaphore for use with 'yprintf' */
	struct SERIALSENDTASKBCB* pbuf1 = getserialbuf(&huart6,128);
	struct SERIALSENDTASKBCB* pbuf3 = getserialbuf(&huart2,128);

	/* Testing CAN rcv */
   BaseType_t Qret;	// queue receive return
	struct CANRCVBUFN ncan;

	int rctr = 0;

// Debuggiing
uint32_t debugctr = 0;
uint32_t debugctr_prev = 0;
extern uint32_t debug1;
uint32_t debug1prev=debug1;

/* Use usb-cdc for gateway data. */
#ifdef  USEUSBFORCANMSGS
struct CDCTXTASKBCB cdc2;
cdc2.pbuf = pbuf3->pbuf;
#endif

//osDelay(6000); // Debug delay

// DTW Cycles max for--
// 9498508 1328 gateway_comm_CANtoPC
//    2108  461 vSerialTaskSendWait (buffer wait not needed)
//     904  288 gateway_CANtoPC
//    2016  961 vSerialTaskSendQueueBuf
// 7986270 1016 gateway_CANtoPC + Wait + Queue

  /* Infinite loop */
  for(;;)
  {
		Qret = xQueueReceive(CanRxQHandle,&ncan,portMAX_DELAY);
		if (Qret == pdPASS)
		{
			rctr += 1;
debug03 += 1;	// CAN msg count for Task 01 output

		/* Convert binary CAN to ASCII/HEX format for PC */
			/* Version using PC_gateway_comm and USB_PC_gateway */

		/* Original version w mods for loading queue */
//			xSemaphoreTake(pbuf3->semaphore, 0);
//			gateway_comm_CANtoPC(&pbuf3, &ncan.can);

		/* Newer version with limited options but better efficiency. */
	xSemaphoreTake(pbuf3->semaphore, 5000);
		gateway_CANtoPC(&pbuf3, &ncan.can);
	vSerialTaskSendQueueBuf(&pbuf3); // Place on queue

#ifdef USEUSBFORCANMSGS
	cdc2.size = pbuf3->size;
	xQueueSendToBack(CdcTxTaskSendQHandle,&cdc2,1500);
#endif

			if ((ncan.can.id == 0x00400000) && (ncan.can.cd.uc[0] == 0))
			{
				/* One second GPS CAN msg flags for other tasks. */
				canflag = 1;
				canflag1 += 1;
				canflag2 += 1;

#define UART2INTERFERENCE  // Test that usart6 not giving usart2 problems
#ifdef UART2INTERFERENCE
			/* Upon GPS CAN msg, 1/64 tick == 0, output received CAN msg count. */
				yprintf(&pbuf1,"\n\r\t\t=====> R %i %i %i %i %i", rctr,\
					(unsigned int)(debug1-debug1prev),\
					(unsigned int)(debugctr-debugctr_prev),\
					(unsigned int)(debugTX1b - debugTX1b_prev),\
					(unsigned int)(debugTX1c - debugTX1c_prev));

				/* Reset count differences. */
				rctr = 0;
				debug1prev     = debug1;
				debugctr_prev  = debugctr;
				debugTX1b_prev = debugTX1b;
				debugTX1c_prev = debugTX1c;

				HAL_GPIO_TogglePin(GPIOD, GPIO_PIN_14); // RED LED
#endif
			}
		}
		else
		{ // Here (Qret != pdPASS)
			debugctr += 1;
		}
	}

  /* USER CODE END StartTask03 */
}

/* Callback01 function */
void Callback01(void const * argument)
{
}

void HAL_TIM_PeriodElapsedCallback(TIM_HandleTypeDef *htim)
{
  if (htim->Instance == TIM14) {
    HAL_IncTick();
  }
}

void Error_Handler(void)
{
  /* USER CODE BEGIN Error_Handler_Debug */
  /* User can add his own implementation to report the HAL error return state */
	verr[verrx++] = (void*)__get_SP();
  /* USER CODE END Error_Handler_Debug */
}

#ifdef  USE_FULL_ASSERT
/**
  * @brief  Reports the name of the source file and the source line number
  *         where the assert_param error has occurred.
  * @param  file: pointer to the source file name
  * @param  line: assert_param error line source number
  * @retval None
  */
void assert_failed(uint8_t *file, uint32_t line)
{
  /* USER CODE BEGIN 6 */
  /* User can add his own implementation to report the file name and line number,
     tex: printf("Wrong parameters value: file %s on line %d\r\n", file, line) */
		morse_trap(16);
  /* USER CODE END 6 */
}
#endif /* USE_FULL_ASSERT */

/************************ (C) COPYRIGHT STMicroelectronics *****END OF FILE****/

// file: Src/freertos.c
/* USER CODE BEGIN Header */
/**
  ******************************************************************************
  * File Name          : freertos.c
  * Description        : Code for freertos applications
  ******************************************************************************
  * This notice applies to any and all portions of this file
  * that are not between comment pairs USER CODE BEGIN and
  * USER CODE END. Other portions of this file, whether
  * inserted by the user or by software development tools
  * are owned by their respective copyright owners.
  *
  * Copyright (c) 2018 STMicroelectronics International N.V.
  * All rights reserved.
  *
  * Redistribution and use in source and binary forms, with or without
  * modification, are permitted, provided that the following conditions are met:
  *
  * 1. Redistribution of source code must retain the above copyright notice,
  *    this list of conditions and the following disclaimer.
  * 2. Redistributions in binary form must reproduce the above copyright notice,
  *    this list of conditions and the following disclaimer in the documentation
  *    and/or other materials provided with the distribution.
  * 3. Neither the name of STMicroelectronics nor the names of other
  *    contributors to this software may be used to endorse or promote products
  *    derived from this software without specific written permission.
  * 4. This software, including modifications and/or derivative works of this
  *    software, must execute solely and exclusively on microcontroller or
  *    microprocessor devices manufactured by or for STMicroelectronics.
  * 5. Redistribution and use of this software other than as permitted under
  *    this license is void and will automatically terminate your rights under
  *    this license.
  *
  * THIS SOFTWARE IS PROVIDED BY STMICROELECTRONICS AND CONTRIBUTORS "AS IS"
  * AND ANY EXPRESS, IMPLIED OR STATUTORY WARRANTIES, INCLUDING, BUT NOT
  * LIMITED TO, THE IMPLIED WARRANTIES OF MERCHANTABILITY, FITNESS FOR A
  * PARTICULAR PURPOSE AND NON-INFRINGEMENT OF THIRD PARTY INTELLECTUAL PROPERTY
  * RIGHTS ARE DISCLAIMED TO THE FULLEST EXTENT PERMITTED BY LAW. IN NO EVENT
  * SHALL STMICROELECTRONICS OR CONTRIBUTORS BE LIABLE FOR ANY DIRECT, INDIRECT,
  * INCIDENTAL, SPECIAL, EXEMPLARY, OR CONSEQUENTIAL DAMAGES (INCLUDING, BUT NOT
  * LIMITED TO, PROCUREMENT OF SUBSTITUTE GOODS OR SERVICES; LOSS OF USE, DATA,
  * OR PROFITS; OR BUSINESS INTERRUPTION) HOWEVER CAUSED AND ON ANY THEORY OF
  * LIABILITY, WHETHER IN CONTRACT, STRICT LIABILITY, OR TORT (INCLUDING
  * NEGLIGENCE OR OTHERWISE) ARISING IN ANY WAY OUT OF THE USE OF THIS SOFTWARE,
  * EVEN IF ADVISED OF THE POSSIBILITY OF SUCH DAMAGE.
  *
  ******************************************************************************
  */
/* USER CODE END Header */

#include "FreeRTOS.h"
#include "task.h"
#include "main.h"

/* GetIdleTaskMemory prototype (linked to static allocation support) */
void vApplicationGetIdleTaskMemory( StaticTask_t **ppxIdleTaskTCBBuffer, StackType_t **ppxIdleTaskStackBuffer, uint32_t *pulIdleTaskStackSize );

/* GetTimerTaskMemory prototype (linked to static allocation support) */
void vApplicationGetTimerTaskMemory( StaticTask_t **ppxTimerTaskTCBBuffer, StackType_t **ppxTimerTaskStackBuffer, uint32_t *pulTimerTaskStackSize );

/* Hook prototypes */
void vApplicationIdleHook(void);
void vApplicationStackOverflowHook(xTaskHandle xTask, signed char *pcTaskName);

/* USER CODE BEGIN 2 */
void vApplicationIdleHook( void )
{
   /* vApplicationIdleHook() will only be called if configUSE_IDLE_HOOK is set
   to 1 in FreeRTOSConfig.h. It will be called on each iteration of the idle
   task. It is essential that code added to this hook function never attempts
   to block in any way (for example, call xQueueReceive() with a block time
   specified, or call vTaskDelay()). If the application makes use of the
   vTaskDelete() API function (as this demo application does) then it is also
   important that vApplicationIdleHook() is permitted to return to its calling
   function, because it is the responsibility of the idle task to clean up
   memory allocated by the kernel to any task that has since been deleted. */
}
/* USER CODE END 2 */

/* USER CODE BEGIN 4 */
void vApplicationStackOverflowHook(xTaskHandle xTask, signed char *pcTaskName)
{
   /* Run time stack overflow checking is performed if
   configCHECK_FOR_STACK_OVERFLOW is defined to 1 or 2. This hook function is
   called if a stack overflow is detected. */
}
/* USER CODE END 4 */

/* USER CODE BEGIN GET_IDLE_TASK_MEMORY */
static StaticTask_t xIdleTaskTCBBuffer;
static StackType_t xIdleStack[configMINIMAL_STACK_SIZE];

void vApplicationGetIdleTaskMemory( StaticTask_t **ppxIdleTaskTCBBuffer, StackType_t **ppxIdleTaskStackBuffer, uint32_t *pulIdleTaskStackSize )
{
  *ppxIdleTaskTCBBuffer = &xIdleTaskTCBBuffer;
  *ppxIdleTaskStackBuffer = &xIdleStack[0];
  *pulIdleTaskStackSize = configMINIMAL_STACK_SIZE;
  /* place for user code */
}
/* USER CODE END GET_IDLE_TASK_MEMORY */

/* USER CODE BEGIN GET_TIMER_TASK_MEMORY */
static StaticTask_t xTimerTaskTCBBuffer;
static StackType_t xTimerStack[configTIMER_TASK_STACK_DEPTH];

void vApplicationGetTimerTaskMemory( StaticTask_t **ppxTimerTaskTCBBuffer, StackType_t **ppxTimerTaskStackBuffer, uint32_t *pulTimerTaskStackSize )
{
  *ppxTimerTaskTCBBuffer = &xTimerTaskTCBBuffer;
  *ppxTimerTaskStackBuffer = &xTimerStack[0];
  *pulTimerTaskStackSize = configTIMER_TASK_STACK_DEPTH;
  /* place for user code */
}
/* USER CODE END GET_TIMER_TASK_MEMORY */

/************************ (C) COPYRIGHT STMicroelectronics *****END OF FILE****/
